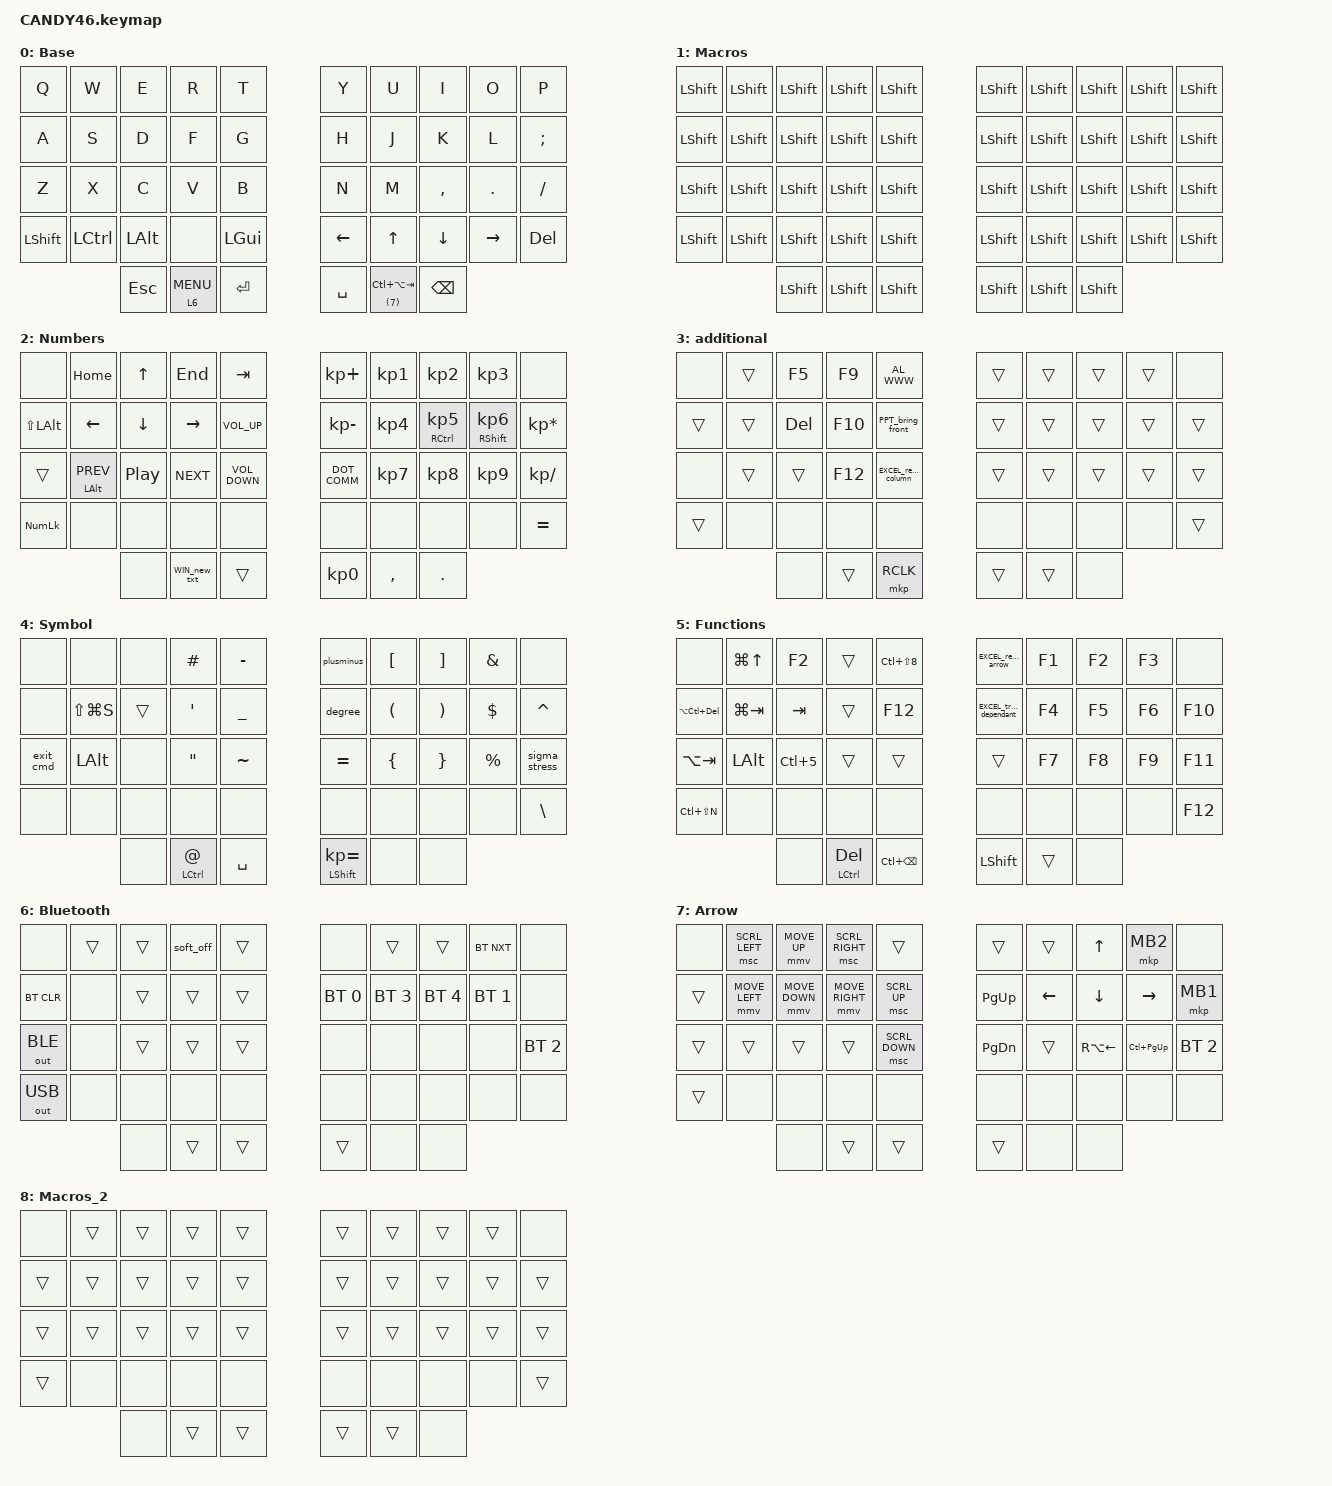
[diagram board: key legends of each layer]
// Copyright (c) 2022 The ZMK Contributors
// SPDX-License-Identifier: MIT

#include <dt-bindings/zmk/mouse.h>
#include <behaviors.dtsi>
#include <dt-bindings/zmk/bt.h>
#include <dt-bindings/zmk/keys.h>
#include <dt-bindings/zmk/outputs.h>
#include <dt-bindings/zmk/pointing.h>

#define ZMK_POINTING_DEFAULT_MOVE_VAL 1100  // default: 600
#define ZMK_POINTING_DEFAULT_SCRL_VAL 15    // default: 10

&msc {
    x-input-code = <INPUT_REL_HWHEEL>;
    y-input-code = <INPUT_REL_WHEEL>;
    time-to-max-speed-ms = <100>;
    acceleration-exponent = <3>;
};

&mmv {
    x-input-code = <INPUT_REL_X>;
    y-input-code = <INPUT_REL_Y>;
    time-to-max-speed-ms = <300>;
    acceleration-exponent = <1>;
};

&lt { tapping-term-ms = <170>; };

/ {
    combos {
        compatible = "zmk,combos";

        VSC_duplicate {
            bindings = <&kp LA(LS(DOWN_ARROW))>;
            key-positions = <1 2>;
            layers = <0>;
        };

        RIGHT_ENT {
            bindings = <&kp ENTER>;
            key-positions = <27 28>;
            layers = <0 2>;
        };

        delete_line_combo {
            bindings = <&delete_line>;
            key-positions = <30 31>;
            layers = <0>;
        };

        bootloader_left {
            bindings = <&bootloader>;
            key-positions = <4 14 24>;
            layers = <0>;
        };

        QUES {
            bindings = <&kp QUESTION>;
            key-positions = <15 16>;
            layers = <0>;
        };

        EXCLAM {
            bindings = <&kp EXCLAMATION>;
            key-positions = <14 13>;
            layers = <0>;
        };

        NPP_hideline {
            bindings = <&kp LA(H)>;
            key-positions = <1 0>;
        };

        NE_mins {
            bindings = <&kp MINUS>;
            key-positions = <16 17>;
            layers = <0>;
        };

        EI_unds {
            bindings = <&kp UNDER>;
            key-positions = <17 18>;
            layers = <0>;
        };

        VB_OF-hide {
            bindings = <&kp LC(H)>;
            key-positions = <23 24>;
            layers = <0>;
        };

        PG_OF-elevation {
            bindings = <&kp LC(E)>;
            key-positions = <4 3>;
            layers = <0>;
        };

        duplicateLine {
            bindings = <&kp LC(LA(UP_ARROW))>;
            key-positions = <0 4>;
            layers = <0>;
        };

        UY_dquo {
            bindings = <&kp KP_PLUS>;
            key-positions = <7 6>;
            layers = <0>;
        };

        UY_equal {
            bindings = <&kp EQUAL>;
            key-positions = <7 8>;
            layers = <0>;
        };

        L_thumb_GUI {
            bindings = <&kp LEFT_GUI>;
            key-positions = <24 41>;
            layers = <0>;
        };

        RESET {
            bindings = <&bootloader>;
            key-positions = <4 14 24 31>;
            layers = <0>;
        };

        SOFT_OFF {
            bindings = <&soft_off>;
            key-positions = <0 9>;
            layers = <0>;
        };

        Right_E {
            bindings = <&kp E>;
            key-positions = <3 2>;
            layers = <0>;
        };

        VSC_comment {
            bindings = <&kp LC(SLASH)>;
            key-positions = <11 12>;
            layers = <0>;
            timeout-ms = <100>;
        };

        LOCK_WINDOW {
            bindings = <&kp LG(L)>;
            key-positions = <19 29>;
        };

        CTRL_ALT {
            bindings = <&kp LC(LEFT_ALT)>;
            key-positions = <21 22>;
        };

        VSC_execute {
            bindings = <&kp LA(ENTER)>;
            key-positions = <26 27>;
        };
    };

    macros {
        norsk_AO: norsk_AO {
            compatible = "zmk,behavior-macro";
            #binding-cells = <0>;
            bindings =
                <&macro_press>,
                <&kp LEFT_ALT>,
                <&macro_tap>,
                <&kp KP_NUMBER_0 &kp KP_NUMBER_2 &kp KP_NUMBER_2 &kp KP_NUMBER_9>,
                <&macro_release>,
                <&kp LEFT_ALT>;

            label = "NORSK_AO";
        };

        norsk_AO_cap: norsk_AO_cap {
            compatible = "zmk,behavior-macro";
            #binding-cells = <0>;
            bindings =
                <&macro_press>,
                <&kp LEFT_ALT>,
                <&macro_tap>,
                <&kp KP_NUMBER_0 &kp KP_NUMBER_1 &kp KP_NUMBER_9 &kp KP_NUMBER_7>,
                <&macro_release>,
                <&kp LEFT_ALT>;

            label = "NORSK_AO_CAP";
        };

        delete_line: delete_line {
            compatible = "zmk,behavior-macro";
            #binding-cells = <0>;
            bindings = <&kp END &kp LS(HOME) &kp BACKSPACE>;
            label = "DELETE_LINE";
        };

        norsk_AE: norsk_AE {
            compatible = "zmk,behavior-macro";
            #binding-cells = <0>;
            bindings =
                <&macro_press>,
                <&kp LEFT_ALT>,
                <&macro_tap>,
                <&kp KP_NUMBER_0 &kp KP_NUMBER_2 &kp KP_NUMBER_3 &kp KP_NUMBER_0>,
                <&macro_release>,
                <&kp LEFT_ALT>;

            label = "NORSK_AE";
        };

        norsk_AE_CAP: norsk_AE_CAP {
            compatible = "zmk,behavior-macro";
            #binding-cells = <0>;
            bindings =
                <&macro_press>,
                <&kp LEFT_ALT>,
                <&macro_tap>,
                <&kp KP_NUMBER_0 &kp KP_NUMBER_1 &kp KP_NUMBER_9 &kp KP_NUMBER_8>,
                <&macro_release>,
                <&kp LEFT_ALT>;

            label = "NORSK_AE_CAP";
        };

        norsk_OE: norsk_OE {
            compatible = "zmk,behavior-macro";
            #binding-cells = <0>;
            bindings =
                <&macro_press>,
                <&kp LEFT_ALT>,
                <&macro_tap>,
                <&kp KP_NUMBER_0 &kp KP_NUMBER_2 &kp KP_NUMBER_4 &kp KP_NUMBER_8>,
                <&macro_release>,
                <&kp LEFT_ALT>;

            label = "NORSK_OE";
        };

        norsk_OE_CAP: norsk_OE_CAP {
            compatible = "zmk,behavior-macro";
            #binding-cells = <0>;
            bindings =
                <&macro_press>,
                <&kp LEFT_ALT>,
                <&macro_tap>,
                <&kp KP_NUMBER_0 &kp KP_NUMBER_2 &kp KP_NUMBER_1 &kp KP_NUMBER_6>,
                <&macro_release>,
                <&kp LEFT_ALT>;

            label = "NORSK_OE_CAP";
        };

        degree: degree {
            compatible = "zmk,behavior-macro";
            #binding-cells = <0>;
            bindings =
                <&macro_press>,
                <&kp LEFT_ALT>,
                <&macro_tap>,
                <&kp KP_NUMBER_0 &kp KP_NUMBER_1 &kp KP_NUMBER_7 &kp KP_NUMBER_6>,
                <&macro_release>,
                <&kp LEFT_ALT>;

            label = "DEGREE";
        };

        par_mid: par_mid {
            compatible = "zmk,behavior-macro";
            #binding-cells = <0>;
            bindings = <&kp LEFT_PARENTHESIS &kp RIGHT_PARENTHESIS &kp LEFT>;
            label = "PAR_MID";
        };

        brk_mid: brk_mid {
            compatible = "zmk,behavior-macro";
            #binding-cells = <0>;
            bindings = <&kp LEFT_BRACKET &kp RIGHT_BRACKET &kp LEFT>;
            label = "BRK_MID";
        };

        brc_mid: brc_mid {
            compatible = "zmk,behavior-macro";
            #binding-cells = <0>;
            bindings = <&kp LEFT_BRACE &kp RIGHT_BRACE &kp LEFT>;
            label = "BRC_MID";
        };

        email: email {
            compatible = "zmk,behavior-macro";
            #binding-cells = <0>;
            bindings = <&kp I &kp Z &kp W &kp A &kp N &kp DOT &kp P &kp E &kp N &kp G &kp AT &kp G &kp M &kp A &kp I &kp L &kp DOT &kp C &kp O &kp M>;
            label = "EMAIL";
        };

        IKM_ADMIN: IKM_ADMIN {
            compatible = "zmk,behavior-macro";
            #binding-cells = <0>;
            bindings =
                <&macro_tap>,
                <&kp DOT &kp BSLH &kp A &kp D &kp M &kp I &kp N &kp I &kp S &kp T &kp R &kp A &kp T &kp O &kp R &kp TAB>;

            label = "IKM_ADMIN";
        };

        IKM_PC: IKM_PC {
            compatible = "zmk,behavior-macro";
            #binding-cells = <0>;
            bindings =
                <&macro_tap>,
                <&kp RIGHT &kp RIGHT &kp RIGHT &kp RIGHT &kp RIGHT &kp RIGHT &kp RIGHT &kp RIGHT &kp LS(A) &kp D &kp A &kp M &kp A &kp Y &kp A &kp M &kp LEFT_BRACE &kp N2 &kp N1 &kp N2 &kp N2 &kp RBRC &kp EXCL>;

            label = "IKM_PC";
        };

        INS_FIG: INS_FIG {
            compatible = "zmk,behavior-macro";
            #binding-cells = <0>;
            wait-ms = <150>;
            tap-ms = <150>;
            bindings =
                <&kp LC(LA(R))>,
                <&macro_wait_time 200>,
                <&kp F>,
                <&macro_wait_time 50>,
                <&kp I>,
                <&macro_wait_time 50>,
                <&kp G>,
                <&macro_wait_time 50>,
                <&kp TAB>,
                <&macro_wait_time 300>,
                <&kp DOWN>,
                <&macro_wait_time 150>,
                <&kp DOWN_ARROW>,
                <&macro_wait_time 150>,
                <&kp TAB &kp TAB>;

            label = "INS_FIG";
        };

        INS_TAB: INS_TAB {
            compatible = "zmk,behavior-macro";
            #binding-cells = <0>;
            wait-ms = <150>;
            tap-ms = <150>;
            bindings =
                <&kp LC(LA(R))>,
                <&macro_wait_time 200>,
                <&kp T>,
                <&macro_wait_time 50>,
                <&kp A>,
                <&macro_wait_time 50>,
                <&kp B>,
                <&macro_wait_time 50>,
                <&kp TAB>,
                <&macro_wait_time 300>,
                <&kp DOWN>,
                <&macro_wait_time 150>,
                <&kp DOWN_ARROW>,
                <&macro_wait_time 150>,
                <&kp TAB &kp TAB>;

            label = "INS_TAB";
        };

        INS_REF: INS_REF {
            compatible = "zmk,behavior-macro";
            #binding-cells = <0>;
            wait-ms = <150>;
            tap-ms = <150>;
            bindings =
                <&kp LC(LA(R))>,
                <&macro_wait_time 200>,
                <&kp N>,
                <&macro_wait_time 50>,
                <&kp U>,
                <&macro_wait_time 50>,
                <&kp M>,
                <&macro_wait_time 50>,
                <&kp TAB>,
                <&macro_wait_time 300>,
                <&kp DOWN>,
                <&macro_wait_time 150>,
                <&kp DOWN_ARROW>,
                <&macro_wait_time 150>,
                <&kp DOWN_ARROW>,
                <&macro_wait_time 150>,
                <&kp TAB &kp TAB &kp TAB>;

            label = "INS_REF";
        };

        INS_CAP: INS_CAP {
            compatible = "zmk,behavior-macro";
            #binding-cells = <0>;
            bindings = <&kp LEFT_ALT &kp S &kp P>;
            label = "INS_CAP";
            wait-ms = <150>;
        };

        NOR_ID: NOR_ID {
            compatible = "zmk,behavior-macro";
            #binding-cells = <0>;
            bindings = <&none &kp N0 &kp N1 &kp N0 &kp N9 &kp N9 &kp N3 &kp N2 &kp N3 &kp N7 &kp N2 &kp N4>;
            label = "NOR_ID";
        };

        INS_COL: INS_COL {
            compatible = "zmk,behavior-macro";
            #binding-cells = <0>;
            bindings =
                <&none &kp LC(SPACE)>,
                <&macro_wait_time 300>,
                <&kp LC(KP_PLUS)>;

            label = "INS_COL";
        };

        INS_ROW: INS_ROW {
            compatible = "zmk,behavior-macro";
            #binding-cells = <0>;
            bindings =
                <&none &kp LS(SPACE)>,
                <&macro_wait_time 300>,
                <&kp LC(KP_PLUS)>;

            label = "INS_ROW";
        };

        plusminus: plusminus {
            compatible = "zmk,behavior-macro";
            #binding-cells = <0>;
            bindings =
                <&macro_press>,
                <&kp LEFT_ALT>,
                <&macro_tap>,
                <&kp KP_NUMBER_0 &kp KP_NUMBER_1 &kp KP_NUMBER_7 &kp KP_NUMBER_7>,
                <&macro_release>,
                <&kp LEFT_ALT>;

            label = "PLUSMINUS";
        };

        APDL_nodeNumber: APDL_nodeNumber {
            compatible = "zmk,behavior-macro";
            #binding-cells = <0>;
            bindings =
                <&macro_press>,
                <&kp LEFT_ALT>,
                <&macro_tap>,
                <&kp C>,
                <&macro_release>,
                <&kp LEFT_ALT>,
                <&macro_tap>,
                <&kp DOWN &kp DOWN &kp DOWN &kp ENTER &kp TAB &kp TAB &kp TAB &kp TAB &kp SPACE &kp ENTER>;

            label = "APDL_NODENUMBER";
            wait-ms = <200>;
        };

        INS_LINK: INS_LINK {
            compatible = "zmk,behavior-macro";
            #binding-cells = <0>;
            wait-ms = <150>;
            tap-ms = <150>;
            bindings =
                <&kp LEFT_ALT>,
                <&macro_wait_time 200>,
                <&kp N>,
                <&macro_wait_time 50>,
                <&kp I>,
                <&macro_wait_time 50>,
                <&kp I>;

            label = "INS_LINK";
        };

        ACROBAT_accept: ACROBAT_accept {
            compatible = "zmk,behavior-macro";
            #binding-cells = <0>;
            bindings = <&kp F13 &kp DOWN &kp DOWN &kp DOWN &kp RIGHT_ARROW &kp DOWN &kp ENTER>;
            label = "ACROBAT_ACCEPT";
            wait-ms = <200>;
        };

        ACROBAT_complete: ACROBAT_complete {
            compatible = "zmk,behavior-macro";
            #binding-cells = <0>;
            bindings = <&kp F13 &kp DOWN &kp DOWN &kp DOWN &kp RIGHT_ARROW &kp DOWN &kp DOWN_ARROW &kp DOWN &kp ENTER>;
            wait-ms = <200>;
        };

        WIN_new_txt: WIN_new_txt {
            compatible = "zmk,behavior-macro";
            #binding-cells = <0>;
            bindings = <&kp K_APP &kp W &kp T>;
            label = "WIN_NEW_TXT";
            wait-ms = <200>;
        };

        INS_HIGHLIGHT: INS_HIGHLIGHT {
            compatible = "zmk,behavior-macro";
            #binding-cells = <0>;
            wait-ms = <150>;
            tap-ms = <150>;
            bindings =
                <&kp LEFT_ALT>,
                <&macro_wait_time 150>,
                <&kp H>,
                <&macro_wait_time 150>,
                <&kp I>,
                <&macro_wait_time 150>,
                <&kp ENTER>;

            label = "INS_HIGHLIGHT";
        };

        sel_line: sel_line {
            compatible = "zmk,behavior-macro";
            #binding-cells = <0>;
            bindings = <&kp END &kp LS(HOME)>;
            label = "SEL_LINE";
        };

        SHAPR3D: SHAPR3D {
            compatible = "zmk,behavior-macro";
            #binding-cells = <0>;
            bindings =
                <&kp E &kp Z &kp L &kp A &kp N &kp D &kp DOT &kp S &kp H &kp A &kp P &kp R &kp N3 &kp D &kp AT &kp G &kp M &kp A &kp I &kp L &kp DOT &kp C &kp O &kp M &kp TAB &kp LS(L) &kp O &kp G &kp O &kp U &kp T>,
                <&macro_wait_time 100>,
                <&macro_tap>,
                <&kp N2 &kp N0 &kp N2 &kp N3 &kp N2 &kp N0>;

            label = "SHAPR3D";
            wait-ms = <100>;
        };

        define_method: define_method {
            compatible = "zmk,behavior-macro";
            #binding-cells = <0>;
            bindings =
                <&kp D &kp E &kp F &kp SPACE &kp UNDER &kp M &kp E &kp T &kp H &kp O &kp D &kp SPACE &kp LPAR &kp S &kp E &kp L &kp F &kp RPAR &kp COLON &kp RET>,
                <&macro_tap>,
                <&kp DQT &kp DQT &kp DQT &kp RET>,
                <&macro_tap>,
                <&kp D &kp O &kp C &kp S &kp T &kp R &kp I &kp N &kp G &kp RET>,
                <&macro_tap>,
                <&kp DQT &kp DQT &kp DQT &kp RET>,
                <&macro_tap>,
                <&kp R &kp E &kp T &kp U &kp R &kp N &kp SPACE &kp LPAR &kp S &kp E &kp L &kp F &kp RPAR>,
                <&macro_press>,
                <&macro_press>;

            label = "DEFINE_METHOD";
        };

        select_word: select_word {
            compatible = "zmk,behavior-macro";
            #binding-cells = <0>;
            bindings = <&macro_tap>, <&kp LC(RIGHT) &kp LC(LS(LEFT))>;

            label = "SELECT_WORD";
        };

        merge_cell_words: merge_cell_words {
            compatible = "zmk,behavior-macro";
            #binding-cells = <0>;
            bindings =
                <&kp K_APP>,
                <&macro_wait_time 150>,
                <&macro_tap>,
                <&kp M &kp ENTER>;

            label = "MERGE_CELL_WORDS";
        };

        sigma_stress: sigma_stress {
            compatible = "zmk,behavior-macro";
            #binding-cells = <0>;
            bindings =
                <&macro_press>,
                <&kp LEFT_ALT>,
                <&macro_tap>,
                <&kp KP_NUMBER_0 &kp KP_NUMBER_1 &kp KP_NUMBER_1 &kp KP_NUMBER_5>,
                <&macro_release>,
                <&kp LEFT_ALT>;

            label = "SIGMA_STRESS";
        };

        INS_FONTCOLOR: INS_FONTCOLOR {
            compatible = "zmk,behavior-macro";
            #binding-cells = <0>;
            wait-ms = <150>;
            tap-ms = <150>;
            bindings =
                <&kp LEFT_ALT>,
                <&macro_wait_time 150>,
                <&kp H>,
                <&macro_wait_time 150>,
                <&kp F>,
                <&macro_wait_time 150>,
                <&kp C>,
                <&macro_wait_time 150>,
                <&kp DOWN &kp DOWN &kp DOWN &kp LEFT &kp LEFT &kp LEFT &kp LEFT>;

            label = "INS_FONTCOLOR";
        };

        PPT_bring_front: PPT_bring_front {
            compatible = "zmk,behavior-macro";
            #binding-cells = <0>;
            bindings = <&kp K_APP &kp R &kp RIGHT &kp R>;
            label = "PPT_BRING_FRONT";
            wait-ms = <200>;
        };

        EXCEL_resize_column: EXCEL_resize_column {
            compatible = "zmk,behavior-macro";
            #binding-cells = <0>;
            wait-ms = <150>;
            tap-ms = <150>;
            bindings =
                <&kp LEFT_ALT>,
                <&macro_wait_time 150>,
                <&kp H>,
                <&macro_wait_time 150>,
                <&kp O>,
                <&macro_wait_time 150>,
                <&kp I>;

            label = "EXCEL_RESIZE_COLUMN";
        };

        exit_cmd: exit_cmd {
            compatible = "zmk,behavior-macro";
            #binding-cells = <0>;
            bindings =
                <&kp E &kp X &kp I &kp T>,
                <&macro_wait_time 180>,
                <&kp RET>;

            label = "EXIT_CMD";
        };

        NDIST: NDIST {
            compatible = "zmk,behavior-macro";
            #binding-cells = <0>;
            bindings = <&kp N &kp D &kp I &kp S &kp T &kp COMMA>;
            label = "NDIST";
            tap-ms = <50>;
        };

        S7_adobe_accept: S7_adobe_accept {
            compatible = "zmk,behavior-macro";
            #binding-cells = <0>;
            bindings =
                <&mkp MB2>,
                <&macro_wait_time 200>,
                <&kp E>,
                <&macro_wait_time 200>,
                <&kp A>;

            label = "S7_ADOBE_ACCEPT";
        };

        S7_adobe_complete: S7_adobe_complete {
            compatible = "zmk,behavior-macro";
            #binding-cells = <0>;
            bindings =
                <&mkp MB2>,
                <&macro_wait_time 200>,
                <&kp E>,
                <&macro_wait_time 200>,
                <&kp M>;

            label = "S7_ADOBE_COMPLETE";
        };

        EXCEL_trace_dependant: EXCEL_trace_dependant {
            compatible = "zmk,behavior-macro";
            #binding-cells = <0>;
            wait-ms = <150>;
            tap-ms = <150>;
            bindings =
                <&kp LEFT_ALT>,
                <&macro_wait_time 150>,
                <&kp A &kp H>,
                <&macro_wait_time 150>,
                <&kp M>,
                <&macro_wait_time 150>,
                <&kp D>;

            label = "EXCEL_TRACE_DEPENDANT";
        };

        EXCEL_remove_arrow: EXCEL_remove_arrow {
            compatible = "zmk,behavior-macro";
            #binding-cells = <0>;
            wait-ms = <150>;
            tap-ms = <150>;
            bindings =
                <&kp LEFT_ALT>,
                <&macro_wait_time 150>,
                <&kp A &kp H>,
                <&macro_wait_time 150>,
                <&kp M>,
                <&macro_wait_time 150>,
                <&kp A>;

            label = "EXCEL_REMOVE_ARROW";
        };

        behaviors {
            caps_esc: caps_esc {
                compatible = "zmk,behavior-tap-dance";
                label = "CAPS_ESC";
                #binding-cells = <0>;
                bindings = <&kp ESCAPE>, <&kp CAPS>;

                tapping-term-ms = <300>;
            };

            ht_tap: HT_TAP {
                compatible = "zmk,behavior-hold-tap";
                label = "HT_TAP";
                bindings = <&kp>, <&kp>;

                #binding-cells = <2>;
                tapping-term-ms = <160>;
                flavor = "hold-preferred";
            };

            AO: AO {
                compatible = "zmk,behavior-tap-dance";
                label = "AO";
                #binding-cells = <0>;
                bindings = <&norsk_AO>, <&norsk_AO_cap>;

                tapping-term-ms = <300>;
            };

            QUOT_DQUO: QUOT_DQUO {
                compatible = "zmk,behavior-tap-dance";
                label = "QUOT_DQUO";
                #binding-cells = <0>;
                bindings = <&kp SINGLE_QUOTE>, <&kp DOUBLE_QUOTES>;

                tapping-term-ms = <300>;
            };

            AE: AE {
                compatible = "zmk,behavior-tap-dance";
                label = "AE";
                #binding-cells = <0>;
                bindings = <&norsk_AE>, <&norsk_AE_CAP>;

                tapping-term-ms = <300>;
            };

            OE: OE {
                compatible = "zmk,behavior-tap-dance";
                label = "OE";
                #binding-cells = <0>;
                bindings = <&norsk_OE>, <&norsk_OE_CAP>;

                tapping-term-ms = <300>;
            };

            SHFT_SPC: SHFT_SPC {
                compatible = "zmk,behavior-hold-tap";
                label = "SHFT_SPC";
                bindings = <&kp>, <&kp>;

                #binding-cells = <2>;
                tapping-term-ms = <100>;
                hold-trigger-key-positions = <32>;
            };

            UND_MINS: UND_MINS {
                compatible = "zmk,behavior-tap-dance";
                label = "UND_MINS";
                #binding-cells = <0>;
                bindings = <&kp MINUS>, <&kp UNDER>;

                tapping-term-ms = <300>;
            };

            AMP_CURL: AMP_CURL {
                compatible = "zmk,behavior-tap-dance";
                label = "AMP_CURL";
                #binding-cells = <0>;
                bindings = <&kp AMPERSAND>, <&kp TILDE>;

                tapping-term-ms = <300>;
            };

            SUB_SUP: SUB_SUP {
                compatible = "zmk,behavior-tap-dance";
                label = "SUB_SUP";
                #binding-cells = <0>;
                tapping-term-ms = <300>;
                bindings = <&kp LC(LS(EQUAL))>, <&kp LC(LS(MINUS))>;
            };

            EXC_G: EXC_G {
                compatible = "zmk,behavior-tap-dance";
                label = "EXC_G";
                #binding-cells = <0>;
                bindings = <&kp G>, <&kp EXCLAMATION>;

                tapping-term-ms = <200>;
            };

            QUE_J: QUE_J {
                compatible = "zmk,behavior-tap-dance";
                label = "QUE_J";
                #binding-cells = <0>;
                bindings = <&kp J>, <&kp QUESTION>;

                tapping-term-ms = <165>;
            };

            ht_hold: ht_hold {
                compatible = "zmk,behavior-hold-tap";
                label = "HT_HOLD";
                bindings = <&kp>, <&kp>;

                #binding-cells = <2>;
                tapping-term-ms = <180>;
                flavor = "hold-preferred";
                quick-tap-ms = <150>;
                require-prior-idle-ms = <100>;
            };

            B_USB: B_USB {
                compatible = "zmk,behavior-tap-dance";
                label = "B_USB";
                #binding-cells = <0>;
                bindings = <&kp B>, <&out OUT_USB>;

                tapping-term-ms = <165>;
            };

            layer_tap: layer_tap {
                compatible = "zmk,behavior-hold-tap";
                label = "LAYER_TAP";
                bindings = <&mo>, <&kp>;

                #binding-cells = <2>;
                tapping-term-ms = <220>;
                flavor = "tap-preferred";
                quick-tap-ms = <150>;
                require-prior-idle-ms = <100>;
            };

            V_BLE: V_BLE {
                compatible = "zmk,behavior-tap-dance";
                label = "V_BLE";
                #binding-cells = <0>;
                bindings = <&kp V>, <&out OUT_USB>;

                tapping-term-ms = <165>;
            };

            non_breaking: non_breaking {
                compatible = "zmk,behavior-tap-dance";
                label = "NON_BREAKING";
                #binding-cells = <0>;
                bindings = <&kp LS(LC(SPACE))>, <&kp LS(LC(KP_SUBTRACT))>;

                tapping-term-ms = <300>;
            };

            CTRL_at: CTRL_at {
                compatible = "zmk,behavior-hold-tap";
                label = "CTRL_AT";
                bindings = <&kp>, <&kp>;

                #binding-cells = <2>;
                tapping-term-ms = <150>;
            };

            SHFT_ID: SHFT_ID {
                compatible = "zmk,behavior-hold-tap";
                label = "SHFT_ID";
                bindings = <&kp>, <&NOR_ID>;

                #binding-cells = <2>;
                tapping-term-ms = <150>;
            };

            cap_I: cap_I {
                compatible = "zmk,behavior-tap-dance";
                label = "CAP_I";
                #binding-cells = <0>;
                bindings = <&kp I>, <&kp LS(I)>;

                tapping-term-ms = <200>;
            };

            DOT_COMM: DOT_COMM {
                compatible = "zmk,behavior-tap-dance";
                label = "DOT_COMM";
                #binding-cells = <0>;
                tapping-term-ms = <180>;
                bindings = <&kp DOT>, <&kp COMMA>;
            };
        };
    };

    behaviors {
    };

    keymap {
        compatible = "zmk,keymap";

        Base {
            bindings = <
&kp Q      &kp W      &kp E     &kp R         &kp T        &kp Y           &kp U                &kp I           &kp O            &kp P
&kp A      &kp S      &kp D     &kp F         &kp G        &kp H           &kp J                &kp K           &kp L            &kp SEMI
&kp Z      &kp X      &kp C     &kp V         &kp B        &kp N           &kp M                &kp COMMA       &kp DOT          &kp FSLH
&kp LSHFT  &kp LCTRL  &kp LALT  &none         &kp LGUI     &kp LEFT_ARROW  &kp UP_ARROW         &kp DOWN_ARROW  &kp RIGHT_ARROW  &kp DELETE
                      &kp ESC   &lt 6 C_MENU  &kp ENTER    &kp SPACE       &lt (7) LC(LA(TAB))  &kp BSPC
            >;
        };

        Macros {
            bindings = <
&kp LSHFT  &kp LSHFT  &kp LSHFT  &kp LSHFT  &kp LSHFT    &kp LSHFT  &kp LSHFT  &kp LSHFT  &kp LSHFT  &kp LSHFT
&kp LSHFT  &kp LSHFT  &kp LSHFT  &kp LSHFT  &kp LSHFT    &kp LSHFT  &kp LSHFT  &kp LSHFT  &kp LSHFT  &kp LSHFT
&kp LSHFT  &kp LSHFT  &kp LSHFT  &kp LSHFT  &kp LSHFT    &kp LSHFT  &kp LSHFT  &kp LSHFT  &kp LSHFT  &kp LSHFT
&kp LSHFT  &kp LSHFT  &kp LSHFT  &kp LSHFT  &kp LSHFT    &kp LSHFT  &kp LSHFT  &kp LSHFT  &kp LSHFT  &kp LSHFT
                      &kp LSHFT  &kp LSHFT  &kp LSHFT    &kp LSHFT  &kp LSHFT  &kp LSHFT
            >;
        };

        Numbers {
            bindings = <
&none             &kp HOME                 &kp UP_ARROW      &kp END       &kp TAB              &kp KP_PLUS      &kp KP_NUMBER_1  &kp KP_NUMBER_2        &kp KP_NUMBER_3              &none
&kp LS(LEFT_ALT)  &kp LEFT_ARROW           &kp DOWN          &kp RIGHT     &kp C_VOLUME_UP      &kp KP_SUBTRACT  &kp KP_N4        &mt RCTRL KP_NUMBER_5  &mt RIGHT_SHIFT KP_NUMBER_6  &kp KP_MULTIPLY
&trans            &ht_tap LEFT_ALT C_PREV  &kp C_PLAY_PAUSE  &kp C_NEXT    &kp C_VOLUME_DOWN    &DOT_COMM        &kp KP_N7        &kp KP_N8              &kp KP_N9                    &kp KP_DIVIDE
&kp KP_NUMLOCK    &none                    &none             &none         &none                &none            &none            &none                  &none                        &kp EQUAL
                                           &none             &WIN_new_txt  &trans               &kp KP_NUMBER_0  &kp COMMA        &kp DOT
            >;
        };

        additional {
            bindings = <
&none   &trans  &kp F5      &kp F9   &kp C_AL_WWW            &trans  &trans  &trans  &trans  &none
&trans  &trans  &kp DELETE  &kp F10  &PPT_bring_front        &trans  &trans  &trans  &trans  &trans
&none   &trans  &trans      &kp F12  &EXCEL_resize_column    &trans  &trans  &trans  &trans  &trans
&trans  &none   &none       &none    &none                   &none   &none   &none   &none   &trans
                &none       &trans   &mkp RCLK               &trans  &trans  &none
            >;
        };

        Symbol {
            bindings = <
&none      &none          &none   &kp HASH           &kp MINUS         &plusminus               &kp LEFT_BRACKET      &kp RIGHT_BRACKET      &kp AMPERSAND  &none
&none      &kp LS(LG(S))  &trans  &kp SINGLE_QUOTE   &kp UNDERSCORE    &degree                  &kp LEFT_PARENTHESIS  &kp RIGHT_PARENTHESIS  &kp DOLLAR     &kp CARET
&exit_cmd  &kp LEFT_ALT   &none   &kp DOUBLE_QUOTES  &kp TILDE         &kp EQUAL                &kp LEFT_BRACE        &kp RIGHT_BRACE        &kp PERCENT    &sigma_stress
&none      &none          &none   &none              &none             &none                    &none                 &none                  &none          &kp BACKSLASH
                          &none   &mt LCTRL AT       &kp SPACE         &mt LEFT_SHIFT KP_EQUAL  &none                 &none
            >;
        };

        Functions {
            bindings = <
&none               &kp LG(UP_ARROW)  &kp F2      &trans                &kp LC(LS(N8))    &EXCEL_remove_arrow     &kp F1  &kp F2  &kp F3  &none
&kp LA(LC(DELETE))  &kp LG(TAB)       &kp TAB     &trans                &kp F12           &EXCEL_trace_dependant  &kp F4  &kp F5  &kp F6  &kp F10
&kp LA(TAB)         &kp LALT          &kp LC(N5)  &trans                &trans            &trans                  &kp F7  &kp F8  &kp F9  &kp F11
&kp LC(LS(N))       &none             &none       &none                 &none             &none                   &none   &none   &none   &kp F12
                                      &none       &ht_tap LCTRL DELETE  &kp LC(BSPC)      &kp LSHFT               &trans  &none
            >;
        };

        Bluetooth {
            bindings = <
&none         &trans  &trans  &soft_off  &trans    &none         &trans        &trans        &bt BT_NXT    &none
&bt BT_CLR    &none   &trans  &trans     &trans    &bt BT_SEL 0  &bt BT_SEL 3  &bt BT_SEL 4  &bt BT_SEL 1  &none
&out OUT_BLE  &none   &trans  &trans     &trans    &none         &none         &none         &none         &bt BT_SEL 2
&out OUT_USB  &none   &none   &none      &none     &none         &none         &none         &none         &none
                      &none   &trans     &trans    &trans        &none         &none
            >;
        };

        Arrow {
            bindings = <
&none   &msc SCRL_LEFT  &mmv MOVE_UP    &msc SCRL_RIGHT  &trans            &trans         &trans    &kp UP_ARROW        &mkp MB2         &none
&trans  &mmv MOVE_LEFT  &mmv MOVE_DOWN  &mmv MOVE_RIGHT  &msc SCRL_UP      &kp PG_UP      &kp LEFT  &kp DOWN_ARROW      &kp RIGHT        &mkp MB1
&trans  &trans          &trans          &trans           &msc SCRL_DOWN    &kp PAGE_DOWN  &trans    &kp RA(LEFT_ARROW)  &kp LC(PAGE_UP)  &bt BT_SEL 2
&trans  &none           &none           &none            &none             &none          &none     &none               &none            &none
                        &none           &trans           &trans            &trans         &none     &none
            >;
        };

        Macros_2 {
            bindings = <
&none   &trans  &trans  &trans  &trans    &trans  &trans  &trans  &trans  &none
&trans  &trans  &trans  &trans  &trans    &trans  &trans  &trans  &trans  &trans
&trans  &trans  &trans  &trans  &trans    &trans  &trans  &trans  &trans  &trans
&trans  &none   &none   &none   &none     &none   &none   &none   &none   &trans
                &none   &trans  &trans    &trans  &trans  &none
            >;
        };
    };
};
